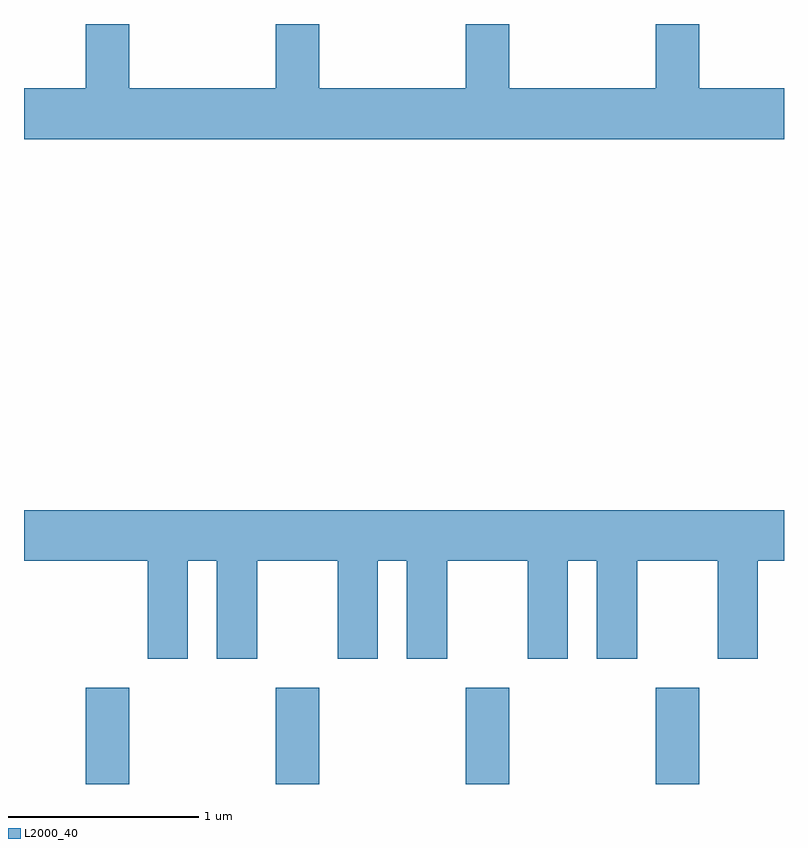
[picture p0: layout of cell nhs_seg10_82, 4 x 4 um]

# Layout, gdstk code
import gdstk
lib = gdstk.Library(unit=1e-6, precision=1e-09)
def R(c, l, rs):  # rectangles x0, y0, x1, y1
    for r in rs: c.add(gdstk.rectangle(r[:2], r[2:], *l))
def A(c, l, x, y, w, h, nx, ny, dx, dy):  # array of equal rectangles
    R(c, l, [(x+i*dx, y+j*dy, x+i*dx+w, y+j*dy+h) for i in range(nx) for j in range(ny)])
def P(c, l, *ps):  # polygons
    for p in ps: c.add(gdstk.Polygon(p, *l))
L2000_40 = (2000, 40)

nhs_seg10_82 = lib.new_cell('nhs_seg10_82')
A(nhs_seg10_82, L2000_40, 187.936, 2110.522, 0.228, 0.507, 4, 1, 1, 0)
P(nhs_seg10_82, L2000_40, [(191.611,2114.184),(191.164,2114.184),(191.164,2114.522),(190.936,2114.522),(190.936,2114.184),(190.164,2114.184),(190.164,2114.522),(189.936,2114.522),(189.936,2114.184),(189.164,2114.184),(189.164,2114.522),(188.936,2114.522),(188.936,2114.184),(188.164,2114.184),(188.164,2114.522),(187.936,2114.522),(187.936,2114.184),(187.611,2114.184),(187.611,2113.916),(191.611,2113.916)],
  [(188.474,2111.696),(188.626,2111.696),(188.626,2111.181),(188.839,2111.181),(188.839,2111.696),(189.261,2111.696),(189.261,2111.181),(189.474,2111.181),(189.474,2111.696),(189.626,2111.696),(189.626,2111.181),(189.839,2111.181),(189.839,2111.696),(190.261,2111.696),(190.261,2111.181),(190.474,2111.181),(190.474,2111.696),(190.626,2111.696),(190.626,2111.181),(190.839,2111.181),(190.839,2111.696),(191.261,2111.696),(191.261,2111.181),(191.474,2111.181),(191.474,2111.696),(191.611,2111.696),(191.611,2111.964),(187.611,2111.964),(187.611,2111.696),(188.261,2111.696),(188.261,2111.181),(188.474,2111.181)])

lib.write_gds('nhs_seg10_82.gds')
